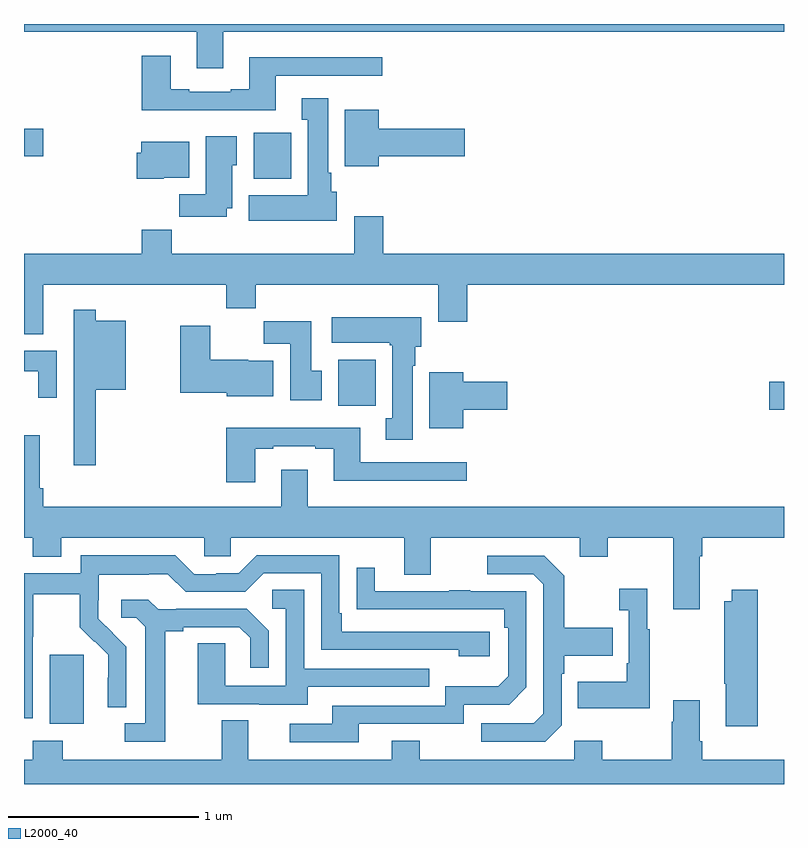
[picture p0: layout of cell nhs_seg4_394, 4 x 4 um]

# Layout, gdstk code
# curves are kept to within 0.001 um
import gdstk
lib = gdstk.Library(unit=1e-6, precision=1e-09)
def R(c, l, rs):  # rectangles x0, y0, x1, y1
    for r in rs: c.add(gdstk.rectangle(r[:2], r[2:], *l))
def P(c, l, *ps):  # polygons
    for p in ps: c.add(gdstk.Polygon(p, *l))
L2000_40 = (2000, 40)

nhs_seg4_394 = lib.new_cell('nhs_seg4_394')
R(nhs_seg4_394, L2000_40, [(131.135,753.218,131.314,753.579), (134.922,754.871,135,755.018), (132.653,754.892,132.85,755.134), (132.209,756.086,132.406,756.328), (131,756.203,131.101,756.35)])
P(nhs_seg4_394, L2000_40, [(132.049,756.86),(135,756.86),(135,756.9),(131,756.9),(131,756.86),(131.909,756.86),(131.909,756.666),(132.049,756.666)],
  [(132.325,756.627),(132.886,756.627),(132.886,756.724),(132.185,756.724),(132.185,756.556),(132.089,756.556),(132.089,756.543),(131.869,756.543),(131.869,756.556),(131.773,756.556),(131.773,756.733),(131.621,756.733),(131.621,756.446),(132.325,756.446)],
  [(132.646,756.018),(132.616,756.018),(132.616,756.118),(132.601,756.118),(132.601,756.508),(132.461,756.508),(132.461,756.395),(132.494,756.395),(132.494,755.998),(132.182,755.998),(132.182,755.864),(132.646,755.864)],
  [(132.868,756.203),(133.321,756.203),(133.321,756.35),(132.868,756.35),(132.868,756.448),(132.689,756.448),(132.689,756.152),(132.868,756.152)],
  [(132.067,755.93),(132.097,755.93),(132.097,756.156),(132.121,756.156),(132.121,756.31),(131.957,756.31),(131.957,756.004),(131.818,756.004),(131.818,755.886),(132.067,755.886)],
  [(131.736,756.092),(131.869,756.092),(131.869,756.28),(131.618,756.28),(131.618,756.222),(131.593,756.222),(131.593,756.086),(131.736,756.086)],
  [(131.101,755.528),(132.065,755.528),(132.065,755.404),(132.221,755.404),(132.221,755.528),(133.181,755.528),(133.181,755.334),(133.334,755.334),(133.334,755.528),(135,755.528),(135,755.692),(132.89,755.692),(132.89,755.887),(132.737,755.887),(132.737,755.692),(131.777,755.692),(131.777,755.816),(131.621,755.816),(131.621,755.692),(131,755.692),(131,755.266),(131.101,755.266)],
  [(131.378,754.976),(131.536,754.976),(131.536,755.338),(131.378,755.338),(131.378,755.395),(131.262,755.395),(131.262,754.88),(131.261,754.88),(131.261,754.578),(131.378,754.578)],
  [(133.045,755.102),(133.06,755.102),(133.06,755.202),(133.09,755.202),(133.09,755.356),(132.621,755.356),(132.621,755.222),(132.925,755.222),(132.925,755.209),(132.938,755.209),(132.938,754.826),(132.905,754.826),(132.905,754.713),(133.045,754.713)],
  [(132.568,755.076),(132.511,755.076),(132.511,755.335),(132.262,755.335),(132.262,755.216),(132.401,755.216),(132.401,754.92),(132.568,754.92)],
  [(132.313,755.128),(132.18,755.128),(132.18,755.134),(131.98,755.134),(131.98,755.311),(131.822,755.311),(131.822,754.958),(132.066,754.958),(132.066,754.94),(132.313,754.94)],
  [(131.172,755.181),(131,755.181),(131,755.073),(131.075,755.073),(131.075,754.932),(131.172,754.932)],
  [(133.312,754.871),(133.543,754.871),(133.543,755.018),(133.312,755.018),(133.312,755.068),(133.133,755.068),(133.133,754.772),(133.312,754.772)],
  [(132.217,754.665),(132.313,754.665),(132.313,754.677),(132.533,754.677),(132.533,754.665),(132.629,754.665),(132.629,754.496),(133.33,754.496),(133.33,754.593),(132.769,754.593),(132.769,754.774),(132.065,754.774),(132.065,754.488),(132.217,754.488)],
  [(134.557,754.1),(134.57,754.1),(134.57,754.196),(135,754.196),(135,754.36),(132.493,754.36),(132.493,754.555),(132.353,754.555),(132.353,754.36),(131.102,754.36),(131.102,754.456),(131.084,754.456),(131.084,754.735),(131,754.735),(131,754.196),(131.045,754.196),(131.045,754.097),(131.197,754.097),(131.197,754.196),(131.949,754.196),(131.949,754.098),(132.087,754.098),(132.087,754.196),(133.001,754.196),(133.001,754.002),(133.141,754.002),(133.141,754.196),(133.925,754.196),(133.925,754.097),(134.073,754.097),(134.073,754.196),(134.417,754.196),(134.417,753.819),(134.557,753.819)],
  [(131.046,753.247),(131.046,753.676),(131.049,753.676),(131.049,753.9),(131.293,753.9),(131.293,753.725),(131.37,753.648),(131.373,753.651),(131.444,753.581),(131.444,753.458),(131.442,753.458),(131.442,753.304),(131.538,753.304),(131.538,753.622),(131.392,753.77),(131.392,753.867),(131.394,753.867),(131.394,754.001),(131.657,754.001),(131.657,754.005),(131.757,754.005),(131.85,753.912),(132.165,753.912),(132.261,754.008),(132.564,754.008),(132.564,753.606),(133.289,753.606),(133.289,753.572),(133.45,753.572),(133.45,753.702),(132.673,753.702),(132.673,753.799),(132.66,753.799),(132.66,754.104),(132.225,754.104),(132.129,754.008),(132.011,754.008),(132.011,754.005),(131.895,754.005),(131.795,754.105),(131.298,754.105),(131.298,754.008),(131,754.008),(131,753.247)],
  [(133.83,753.21),(133.83,753.479),(133.843,753.479),(133.843,753.575),(134.099,753.575),(134.099,753.723),(133.843,753.723),(133.843,753.995),(133.737,754.101),(133.437,754.101),(133.437,754.005),(133.68,754.005),(133.734,753.951),(133.734,753.27),(133.683,753.219),(133.407,753.219),(133.407,753.123),(133.743,753.123)],
  [(132.763,753.216),(133.314,753.216),(133.314,753.318),(133.554,753.318),(133.644,753.408),(133.644,753.915),(133.349,753.915),(133.349,753.92),(133.237,753.92),(133.237,753.915),(132.847,753.915),(132.847,754.039),(132.751,754.039),(132.751,753.82),(133.528,753.819),(133.528,753.722),(133.548,753.722),(133.548,753.468),(133.495,753.415),(133.218,753.415),(133.218,753.312),(132.623,753.312),(132.623,753.216),(132.399,753.216),(132.399,753.12),(132.763,753.12)],
  [(134.293,753.715),(134.281,753.715),(134.281,753.928),(134.133,753.928),(134.133,753.815),(134.184,753.815),(134.184,753.535),(134.172,753.535),(134.172,753.439),(133.915,753.439),(133.915,753.299),(134.293,753.299)],
  [(132.493,753.411),(133.133,753.411),(133.133,753.507),(132.474,753.507),(132.474,753.923),(132.306,753.923),(132.306,753.822),(132.378,753.822),(132.378,753.417),(132.06,753.417),(132.06,753.641),(131.915,753.641),(131.915,753.321),(132.239,753.321),(132.239,753.317),(132.493,753.317)],
  [(134.861,753.922),(134.726,753.922),(134.726,753.862),(134.686,753.862),(134.686,753.427),(134.693,753.427),(134.693,753.204),(134.861,753.204)],
  [(131.743,753.704),(131.839,753.704),(131.839,753.726),(132.134,753.726),(132.191,753.669),(132.191,753.513),(132.288,753.513),(132.288,753.706),(132.172,753.822),(131.8,753.822),(131.8,753.819),(131.706,753.819),(131.654,753.871),(131.511,753.871),(131.511,753.774),(131.592,753.774),(131.639,753.727),(131.639,753.219),(131.529,753.219),(131.529,753.123),(131.743,753.123)],
  [(135,753.028),(134.57,753.028),(134.57,753.124),(134.557,753.124),(134.557,753.34),(134.417,753.34),(134.417,753.227),(134.41,753.227),(134.41,753.028),(134.043,753.028),(134.043,753.127),(133.896,753.127),(133.896,753.028),(133.083,753.028),(133.083,753.127),(132.935,753.127),(132.935,753.028),(132.181,753.028),(132.181,753.236),(132.041,753.236),(132.041,753.028),(131.205,753.028),(131.205,753.127),(131.045,753.127),(131.045,753.028),(131,753.028),(131,752.9),(135,752.9)])

lib.write_gds('nhs_seg4_394.gds')
